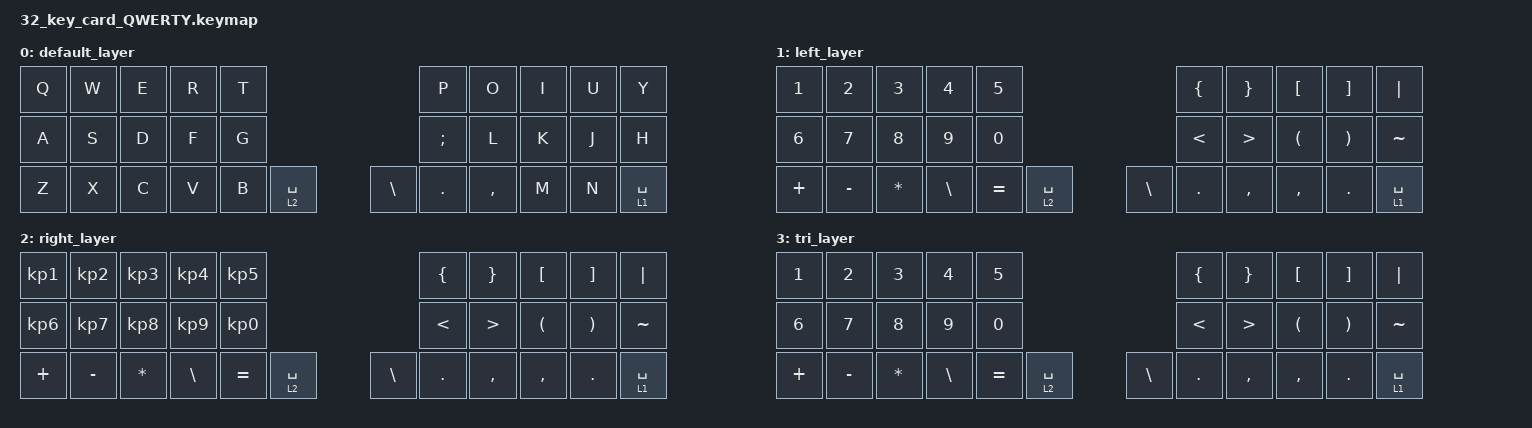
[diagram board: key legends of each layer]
#include <behaviors.dtsi>
#include <dt-bindings/zmk/bt.h>
#include <dt-bindings/zmk/keys.h>

&mt {
    flavor = "tap-preferred";
    tapping_term_ms = <200>;
};


/ {
    behaviors {    
        ht: hold_tap {
            label = "hold_tap";    
            compatible = "zmk,behavior-hold-tap";    
            #binding-cells = <2>;    
            flavor = "tap-preferred";    
            tapping-term-ms = <220>;    
            quick-tap-ms = <150>;    
            global-quick-tap;    
            bindings = <&kp>, <&kp>;    
        };    
    };    
    
    conditional_layers {    
        compatible = "zmk,conditional-layers";    
        tri_layer {    
            if-layers = <1 2>;    
            then-layer = <3>;    
        };    
    };    

  keymap {
    compatible = "zmk,keymap";

    default_layer {
      bindings = <
        //╭──────┬──────┬──────┬──────┬──────╮                          ╭────────┬──────────┬──────┬──────┬──────────╮
        //│  Q   │  W   │  E   │  R   │  T   │                          │  P     │    O     │  I   │  U   │   Y      │
           &kp Q  &kp W  &kp E  &kp R  &kp T                              &kp P    &kp O     &kp I  &kp U    &kp Y
        //├──────┼──────┼──────┼──────┼──────┤                          ├────────┼──────────┼──────┼──────┼──────────┤
        //│  A   │  S   │  D   │  F   │  G   │                          │    ;   │     L    │   K  │  J   │   H      │
           &kp A  &kp S  &kp D  &kp F  &kp G                             &kp SEMI    &kp L   &kp K   &kp J    &kp H 
        //├──────┼──────┼──────┼──────┼──────┼─────────╮       ╭────────┼────────┼──────────┼──────┼──────┼──────────┤
        //│  Z   │  X   │  C   │  V   │  B   │         │       │        │    .   │    ,     │  M   │  N   │  SPACE   │
           &kp Z  &kp X  &kp C  &kp V  &kp B  &lt 2 SPACE      &kp BSLH  &kp DOT  &kp COMMA  &kp M  &kp N  &lt 1 SPACE
        //╰──────┴──────┴──────┴──────┴──────┴─────────╯       ╰────────┴────────┴──────────┴──────┴──────┴──────────╯
        >;
    };
    left_layer {
      bindings = <
        //╭────────┬──────────┬─────────┬──────────┬─────────╮                            ╭────────┬──────────┬────────┬─────────┬───────────╮
        //│  1     │  2       │  3      │  4       │  5      │                            │  {     │    }     │  [     │  ]      │   |       │
            &kp NUMBER_1   &kp NUMBER_2     &kp NUMBER_3    &kp NUMBER_4     &kp NUMBER_5                                  &kp LBRC  &kp RBRC  &kp LBKT  &kp RBKT  &kp PIPE
        //├────────┼──────────┼─────────┼──────────┼─────────┤                            ├────────┼──────────┼────────┼─────────┼───────────┤
        //│  6     │  7       │  8      │  9       │  0      │                            │    <   │     >    │   (    │  )      │   ~       │
            &kp NUMBER_6   &kp NUMBER_7     &kp NUMBER_8    &kp NUMBER_9     &kp NUMBER_0                                  &kp LT  &kp GT     &kp LPAR  &kp RPAR  &kp TILDE
        //├────────┼──────────┼─────────┼──────────┼─────────┼─────────╮         ╭────────┼────────┼──────────┼────────┼─────────┼───────────┤
        //│  +     │  -       │  *      │  /       │  =      │         │         │   /    │    .   │    ,     │  ,     │  .      │  SPACE    │
           &kp PLUS  &kp MINUS  &kp STAR  &kp BSLH  &kp EQUAL  &lt 2 SPACE       &kp BSLH  &kp DOT  &kp COMMA  &kp COMMA  &kp DOT  &lt 1 SPACE
        //╰────────┴──────────┴─────────┴──────────┴─────────┴─────────╯         ╰────────┴────────┴──────────┴────────┴─────────┴───────────╯
        >;
    };
    right_layer {
      bindings = <
        //╭────────┬──────────┬─────────┬──────────┬─────────╮                            ╭────────┬──────────┬────────┬─────────┬───────────╮
        //│  1     │  2       │  3      │  4       │  5      │                            │  {     │    }     │  [     │  ]      │   |       │
            &kp KP_N1    &kp KP_N2      &kp KP_N3     &kp KP_N4      &kp KP_N5                                  &kp LBRC  &kp RBRC  &kp LBKT  &kp RBKT  &kp PIPE
        //├────────┼──────────┼─────────┼──────────┼─────────┤                            ├────────┼──────────┼────────┼─────────┼───────────┤
        //│  6     │  7       │  8      │  9       │  0      │                            │    <   │     >    │   (    │  )      │   ~       │
            &kp KP_N6    &kp KP_N7      &kp KP_N8     &kp KP_N9      &kp KP_N0                                  &kp LT  &kp GT     &kp LPAR  &kp RPAR  &kp TILDE
        //├────────┼──────────┼─────────┼──────────┼─────────┼─────────╮         ╭────────┼────────┼──────────┼────────┼─────────┼───────────┤
        //│  +     │  -       │  *      │  /       │  =      │         │         │   /    │    .   │    ,     │  ,     │  .      │  SPACE    │
           &kp PLUS  &kp MINUS  &kp STAR  &kp BSLH  &kp EQUAL  &lt 2 SPACE       &kp BSLH  &kp DOT  &kp COMMA  &kp COMMA  &kp DOT  &lt 1 SPACE
        //╰────────┴──────────┴─────────┴──────────┴─────────┴─────────╯         ╰────────┴────────┴──────────┴────────┴─────────┴───────────╯
        >;
    };
    tri_layer {
      bindings = <
        //╭────────┬──────────┬─────────┬──────────┬─────────╮                            ╭────────┬──────────┬────────┬─────────┬───────────╮
        //│  1     │  2       │  3      │  4       │  5      │                            │  {     │    }     │  [     │  ]      │   |       │
            &kp 1    &kp 2      &kp 3     &kp 4      &kp 5                                  &kp LBRC  &kp RBRC  &kp LBKT  &kp RBKT  &kp PIPE
        //├────────┼──────────┼─────────┼──────────┼─────────┤                            ├────────┼──────────┼────────┼─────────┼───────────┤
        //│  6     │  7       │  8      │  9       │  0      │                            │    <   │     >    │   (    │  )      │   ~       │
            &kp 6    &kp 7      &kp 8     &kp 9      &kp 0                                  &kp LT  &kp GT     &kp LPAR  &kp RPAR  &kp TILDE
        //├────────┼──────────┼─────────┼──────────┼─────────┼─────────╮         ╭────────┼────────┼──────────┼────────┼─────────┼───────────┤
        //│  +     │  -       │  *      │  /       │  =      │         │         │   /    │    .   │    ,     │  ,     │  .      │  SPACE    │
           &kp PLUS  &kp MINUS  &kp STAR  &kp BSLH  &kp EQUAL  &lt 2 SPACE        &kp BSLH  &kp DOT  &kp COMMA  &kp COMMA  &kp DOT  &lt 1 SPACE
        //╰────────┴──────────┴─────────┴──────────┴─────────┴─────────╯         ╰────────┴────────┴──────────┴────────┴─────────┴───────────╯
        >;
    };
  };
};
//&td &caps_word. Tap dance caps word for double tap. Hold for shift. Tap once for space?
